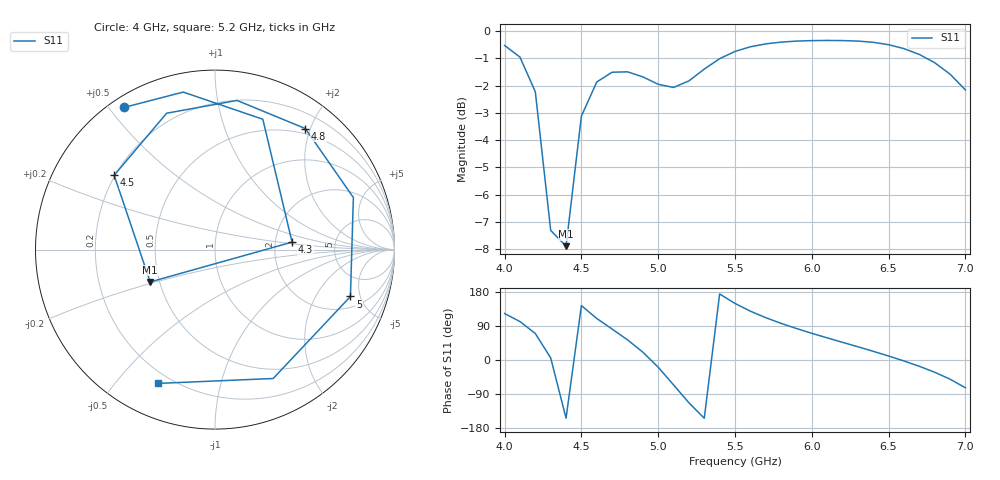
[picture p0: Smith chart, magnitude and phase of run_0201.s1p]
! Touchstone file exported from HFSS 2024.2.0
!  File:  C:/Users/wsak9/Desktop/Sim Fast/Widenad Patch/WP_AI_V1_sweep.aedt
!  Generated:  11:22:22 PM Oct 13, 2026
!  Design:  A1_model
!  Project:  WP_AI_V1_sweep
!  Setup:  Setup1
!  Solution:  Sweep
! Variables:
!  Air_gap = 4.15mm
!  Curve_Amp1 = 2.68
!  Curve_len1 = 1
!  Curve_pos = 12.85mm
!  Extra = 1.11mm
!  H_sub = 0.79mm
!  L_Patch = 21.7mm
!  L_Patch1 = 11.67mm
!  Sx = 2.29mm
!  Sy = 4.94mm
!  WS = 0.51mm
!  W_Patch = 14.8mm
!  W_Patch1 = 10.56mm
!Data is not renormalized
# GHz S MA
! Terminal data exported
! Port[1] = 1
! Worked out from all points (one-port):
!   31 points, 4 GHz to 7 GHz, reference per port
!   lowest |S11| = -7.9 dB at 4.4 GHz (marker M1), VSWR 2.35
!   |S11| at or under -10 dB: nowhere
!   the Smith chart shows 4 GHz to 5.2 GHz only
!   S11 on the Smith chart (normalised r, x): 4 GHz: 0.04, +0.55; 4.3 GHz: 2.49, +0.25; 4.5 GHz: 0.20, +0.32; 4.8 GHz: 0.42, +1.92; 5 GHz: 2.82, -4.07; 5.2 GHz: 0.15, -0.65
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4  0.9403 122.6
4.1  0.8953 101.4
4.2  0.7735 69.8
4.3  0.4314 5.5
4.4  0.4036 -153.5
4.5  0.6982 143.6
4.6  0.8062 109.5
4.7  0.8401 81.6
4.8  0.8415 53.3
4.9  0.8238 20.6
5  0.7986 -19.1
5.1  0.7879 -65.7
5.2  0.81 -113.0
5.3  0.8513 -153.7
5.4  0.8895 174.3
5.5  0.917 149.2
5.6  0.9351 128.9
5.7  0.9467 111.7
5.8  0.9538 96.7
5.9  0.9579 83.1
6.1  0.9604 58.4
6.3  0.958 34.9
6.5  0.9434 10.5
6.6  0.9279 -2.5
6.7  0.9054 -16.6
6.8  0.8745 -32.3
6.9  0.8334 -50.6
7  0.7797 -73.3
